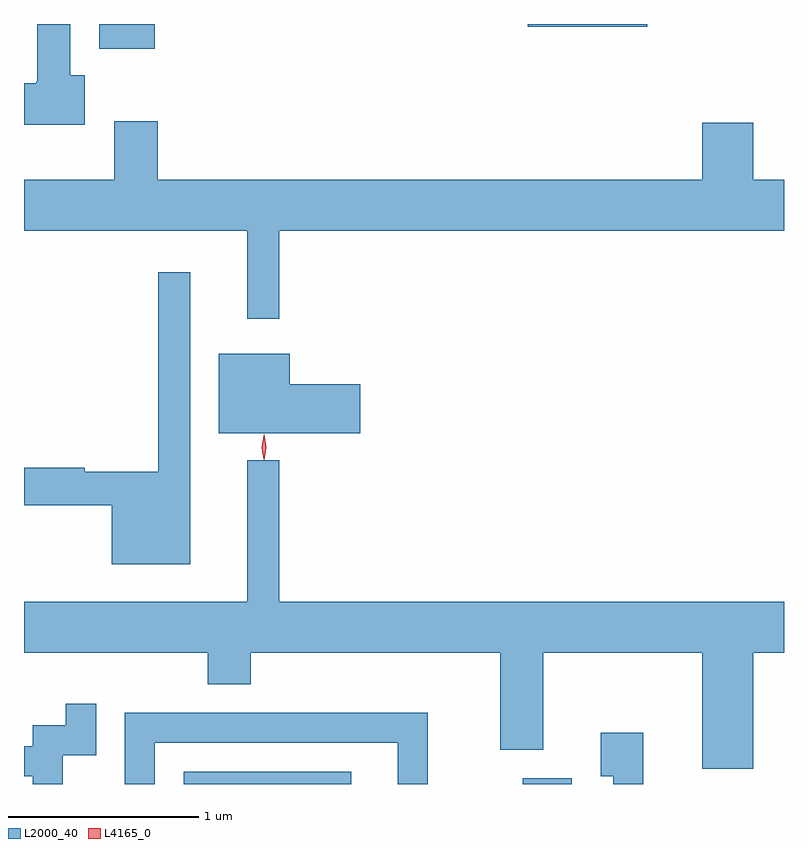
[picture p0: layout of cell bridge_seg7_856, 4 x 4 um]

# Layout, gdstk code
import gdstk
lib = gdstk.Library(unit=1e-6, precision=1e-09)
def R(c, l, rs):  # rectangles x0, y0, x1, y1
    for r in rs: c.add(gdstk.rectangle(r[:2], r[2:], *l))
def P(c, l, *ps):  # polygons
    for p in ps: c.add(gdstk.Polygon(p, *l))
L2000_40 = (2000, 40)
L4165_0 = (4165, 0)

bridge_seg7_856 = lib.new_cell('bridge_seg7_856')
R(bridge_seg7_856, L2000_40, [(212.346,1709.185,213.228,1709.249), (214.131,1709.185,214.389,1709.214), (211.901,1713.056,212.194,1713.185), (214.156,1713.171,214.784,1713.185)])
P(bridge_seg7_856, L2000_40, [(211.824,1712.914),(211.749,1712.914),(211.749,1713.185),(211.576,1713.185),(211.576,1712.88),(211.57,1712.88),(211.57,1712.874),(211.505,1712.874),(211.505,1712.656),(211.824,1712.656)],
  [(212.849,1712.096),(215.505,1712.096),(215.505,1712.364),(215.344,1712.364),(215.344,1712.664),(215.076,1712.664),(215.076,1712.364),(212.209,1712.364),(212.209,1712.674),(211.981,1712.674),(211.981,1712.364),(211.505,1712.364),(211.505,1712.096),(212.681,1712.096),(212.681,1711.633),(212.849,1711.633)],
  [(212.379,1711.878),(212.211,1711.878),(212.211,1710.829),(211.824,1710.829),(211.824,1710.849),(211.505,1710.849),(211.505,1710.651),(211.966,1710.651),(211.966,1710.341),(212.379,1710.341)],
  [(213.274,1711.289),(212.904,1711.289),(212.904,1711.449),(212.531,1711.449),(212.531,1711.031),(213.274,1711.031)],
  [(215.344,1709.876),(215.505,1709.876),(215.505,1710.144),(212.849,1710.144),(212.849,1710.888),(212.681,1710.888),(212.681,1710.144),(211.505,1710.144),(211.505,1709.876),(212.471,1709.876),(212.471,1709.711),(212.699,1709.711),(212.699,1709.876),(214.011,1709.876),(214.011,1709.366),(214.239,1709.366),(214.239,1709.876),(215.076,1709.876),(215.076,1709.266),(215.344,1709.266)],
  [(211.709,1709.336),(211.884,1709.336),(211.884,1709.608),(211.726,1709.608),(211.726,1709.494),(211.551,1709.494),(211.551,1709.384),(211.505,1709.384),(211.505,1709.226),(211.551,1709.226),(211.551,1709.185),(211.709,1709.185)],
  [(212.194,1709.401),(213.471,1709.401),(213.471,1709.185),(213.629,1709.185),(213.629,1709.559),(212.036,1709.559),(212.036,1709.185),(212.194,1709.185)],
  [(214.764,1709.454),(214.541,1709.454),(214.541,1709.226),(214.606,1709.226),(214.606,1709.185),(214.764,1709.185)])
P(bridge_seg7_856, L4165_0, [(212.768,1710.893),(212.767,1710.894),(212.757,1710.956),(212.767,1711.02),(212.768,1711.02),(212.768,1711.02),(212.777,1710.956),(212.768,1710.894)],
  [(212.769,1710.89),(212.76,1710.958),(212.769,1711.025),(212.77,1711.026),(212.77,1711.025),(212.78,1710.958),(212.77,1710.89),(212.77,1710.89)])

lib.write_gds('bridge_seg7_856.gds')
